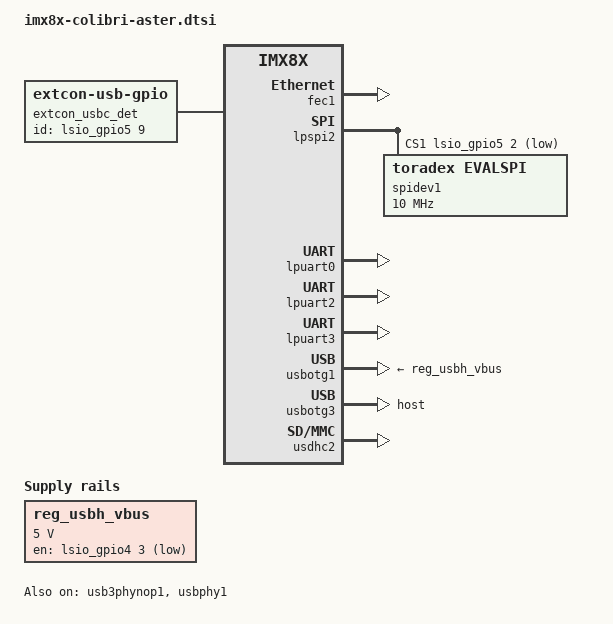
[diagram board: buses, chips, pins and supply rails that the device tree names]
// SPDX-License-Identifier: GPL-2.0+ OR X11
/*
 * Copyright 2018-2021 Toradex
 */

/ {
	extcon_usbc_det: usbc_det {
		compatible = "linux,extcon-usb-gpio";
		debounce = <25>;
		id-gpio = <&lsio_gpio5 9 GPIO_ACTIVE_HIGH>;
		pinctrl-names = "default";
		pinctrl-0 = <&pinctrl_usbc_det>;
	};

	reg_usbh_vbus: regulator-usbh-vbus {
		compatible = "regulator-fixed";
		pinctrl-names = "default";
		pinctrl-0 = <&pinctrl_usbh1_reg>;
		regulator-name = "usbh_vbus";
		regulator-min-microvolt = <5000000>;
		regulator-max-microvolt = <5000000>;
		gpio = <&lsio_gpio4 3 GPIO_ACTIVE_LOW>;
		regulator-always-on;
	};
};

/* Colibri Ethernet */
&fec1 {
	status = "okay";
};

&iomuxc {
	pinctrl-names = "default";
	pinctrl-0 = <&pinctrl_hog0>, <&pinctrl_hog2>;
};

&lpspi2 {
	fsl,spi-num-chipselects = <2>;
	cs-gpios = <&lsio_gpio1 0 GPIO_ACTIVE_LOW
		    &lsio_gpio5 2 GPIO_ACTIVE_LOW>;

	spidev1: spidev@1 {
		compatible = "toradex,evalspi";
		reg = <1>;
		spi-max-frequency = <10000000>;
	};
};

/* Colibri UART_B */
&lpuart0 {
	status = "okay";
};

/* Colibri UART_C */
&lpuart2 {
	status = "okay";
};

/* Colibri UART_A */
&lpuart3 {
	status= "okay";
};

/* USB PHY for &usbotg3 */
&usb3phynop1 {
	status = "okay";
};

&usbotg1 {
	extcon = <&extcon_usbc_det &extcon_usbc_det>;
	vbus-supply = <&reg_usbh_vbus>;
	srp-disable;
	hnp-disable;
	adp-disable;
	power-active-high;
	disable-over-current;
	status = "okay";
};

&usbotg3 {
	dr_mode = "host";
	status = "okay";
};

/* USB PHY for &usbotg1 */
&usbphy1 {
	status = "okay";
};

/* Colibri SDCard */
&usdhc2 {
	status = "okay";
};
